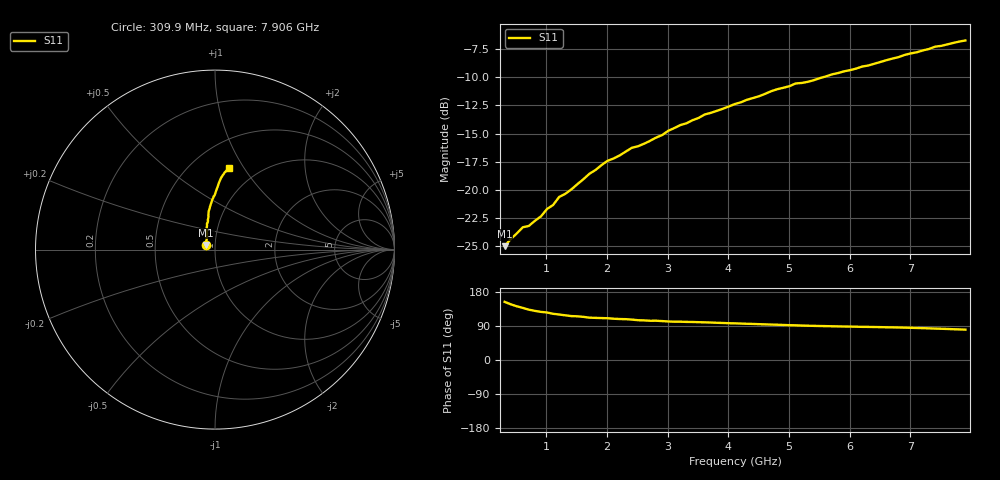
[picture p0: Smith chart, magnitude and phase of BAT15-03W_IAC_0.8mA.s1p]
! Infineon Technologies  Discrete & RF Semiconductors
! BAT15-03W-E6327
! IAC = 0.8 mA
! One-Port S-Parameters
# Hz  S  MA  R  50
!f  S11
!Hz  Mag  Ang
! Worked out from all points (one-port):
!   77 points, 309.9 MHz to 7.906 GHz, reference 50 ohm
!   lowest |S11| = -25.0 dB at 309.9 MHz (marker M1), VSWR 1.12, Z = 45.2 + j2.28 ohm
!   |S11| at or under -10 dB: start of sweep to 5.55 GHz
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3.0985e8  0.0562 153.4
4.098e8  0.06042 147.1
6.097e8  0.06819 137.5
7.0965e8  0.06913 132.8
9.0955e8  0.07624 127.0
1.0095e9  0.08225 125.4
1.10945e9  0.08566 121.9
1.2094e9  0.09301 120.0
1.30935e9  0.09599 117.9
1.70915e9  0.1179 111.7
1.90905e9  0.129 110.6
2.009e9  0.1347 110.2
2.2089e9  0.1424 108.1
2.4088e9  0.1538 106.6
2.6087e9  0.1603 104.5
3.2084e9  0.1941 101.0
3.30835e9  0.1977 100.6
3.6082e9  0.2163 99.4
4.10795e9  0.2408 96.7
5.0075e9  0.2891 91.9
5.10745e9  0.2971 91.6
5.30735e9  0.3021 90.4
5.70715e9  0.3261 89.0
6.007e9  0.3406 88.2
7.0065e9  0.4042 84.9
7.30635e9  0.4228 83.5
7.4063e9  0.433 82.9
7.90605e9  0.4614 80.1
